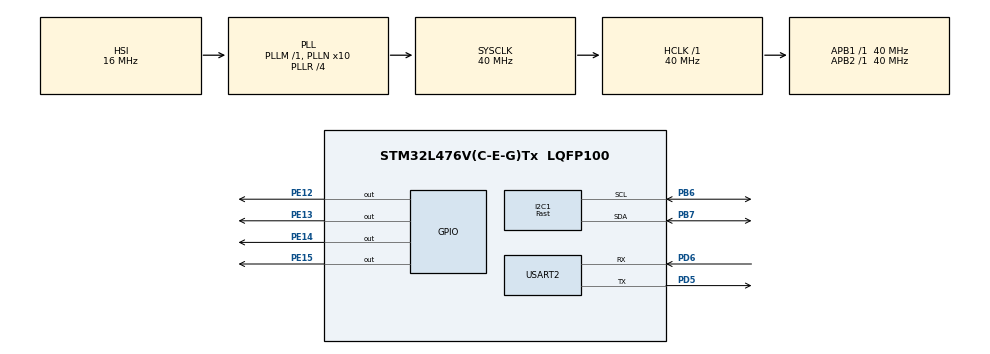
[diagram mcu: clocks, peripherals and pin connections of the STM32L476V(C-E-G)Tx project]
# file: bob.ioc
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I2C1.I2C_Speed_Mode=I2C_Fast
I2C1.Timing=0x00301347
Mcu.Family=STM32L4
Mcu.Name=STM32L476V(C-E-G)Tx
Mcu.Package=LQFP100
NVIC.I2C1_ER_IRQn=true\:0\:0\:false\:false\:true\:true
NVIC.I2C1_EV_IRQn=true\:0\:0\:false\:false\:true\:true
NVIC.PriorityGroup=NVIC_PRIORITYGROUP_4
NVIC.TIM2_IRQn=true\:0\:0\:false\:false\:true\:true
NVIC.TIM3_IRQn=true\:0\:0\:false\:false\:true\:true
PB6.Mode=I2C
PB6.Signal=I2C1_SCL
PB7.Mode=I2C
PB7.Signal=I2C1_SDA
PD5.Mode=Asynchronous
PD5.Signal=USART2_TX
PD6.Mode=Asynchronous
PD6.Signal=USART2_RX
PE12.Signal=GPIO_Output
PE13.Signal=GPIO_Output
PE14.Signal=GPIO_Output
PE15.Signal=GPIO_Output
ProjectManager.HeapSize=0x200
ProjectManager.StackSize=0x400
ProjectManager.TargetToolchain=MDK-ARM V5
RCC.ADCFreq_Value=64000000
RCC.AHBFreq_Value=40000000
RCC.APB1Freq_Value=40000000
RCC.APB1TimFreq_Value=40000000
RCC.APB2Freq_Value=40000000
RCC.APB2TimFreq_Value=40000000
RCC.CortexFreq_Value=40000000
RCC.HCLKFreq_Value=40000000
RCC.HSI_VALUE=16000000
RCC.LSE_VALUE=32768
RCC.MSI_VALUE=4000000
RCC.PLLN=10
RCC.PLLR=RCC_PLLR_DIV4
RCC.PLLSourceVirtual=RCC_PLLSOURCE_HSI
RCC.SYSCLKFreq_VALUE=40000000
RCC.SYSCLKSource=RCC_SYSCLKSOURCE_PLLCLK
RCC.USBFreq_Value=64000000
RCC.VCOOutputFreq_Value=160000000
TIM2.Period=999999
TIM2.Prescaler=2047
TIM3.Period=999
TIM3.Prescaler=79
USART2.VirtualMode-Asynchronous=VM_ASYNC
VP_TIM2_VS_ClockSourceINT.Mode=Internal
VP_TIM3_VS_ClockSourceINT.Mode=Internal
board=custom

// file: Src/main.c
/**
  ******************************************************************************
  * @file           : main.c
  * @brief          : Main program body
  ******************************************************************************
  ** This notice applies to any and all portions of this file
  * that are not between comment pairs USER CODE BEGIN and
  * USER CODE END. Other portions of this file, whether
  * inserted by the user or by software development tools
  * are owned by their respective copyright owners.
  *
  * COPYRIGHT(c) 2018 STMicroelectronics
  *
  * Redistribution and use in source and binary forms, with or without modification,
  * are permitted provided that the following conditions are met:
  *   1. Redistributions of source code must retain the above copyright notice,
  *      this list of conditions and the following disclaimer.
  *   2. Redistributions in binary form must reproduce the above copyright notice,
  *      this list of conditions and the following disclaimer in the documentation
  *      and/or other materials provided with the distribution.
  *   3. Neither the name of STMicroelectronics nor the names of its contributors
  *      may be used to endorse or promote products derived from this software
  *      without specific prior written permission.
  *
  * THIS SOFTWARE IS PROVIDED BY THE COPYRIGHT HOLDERS AND CONTRIBUTORS "AS IS"
  * AND ANY EXPRESS OR IMPLIED WARRANTIES, INCLUDING, BUT NOT LIMITED TO, THE
  * IMPLIED WARRANTIES OF MERCHANTABILITY AND FITNESS FOR A PARTICULAR PURPOSE ARE
  * DISCLAIMED. IN NO EVENT SHALL THE COPYRIGHT HOLDER OR CONTRIBUTORS BE LIABLE
  * FOR ANY DIRECT, INDIRECT, INCIDENTAL, SPECIAL, EXEMPLARY, OR CONSEQUENTIAL
  * DAMAGES (INCLUDING, BUT NOT LIMITED TO, PROCUREMENT OF SUBSTITUTE GOODS OR
  * SERVICES; LOSS OF USE, DATA, OR PROFITS; OR BUSINESS INTERRUPTION) HOWEVER
  * CAUSED AND ON ANY THEORY OF LIABILITY, WHETHER IN CONTRACT, STRICT LIABILITY,
  * OR TORT (INCLUDING NEGLIGENCE OR OTHERWISE) ARISING IN ANY WAY OUT OF THE USE
  * OF THIS SOFTWARE, EVEN IF ADVISED OF THE POSSIBILITY OF SUCH DAMAGE.
  *
  ******************************************************************************
  */
#include "main.h"
#include "stm32l4xx_hal.h"

/* USER CODE BEGIN Includes */
#include <math.h>
/* USER CODE END Includes */

I2C_HandleTypeDef hi2c1;

TIM_HandleTypeDef htim2;
TIM_HandleTypeDef htim3;

UART_HandleTypeDef huart2;

/* USER CODE BEGIN PV */
/* Private variables ---------------------------------------------------------*/
#define MPU6050_ADDR 0x69<<1
#define gyroSensitivity 250.0 //degrees per second
#define clkFreq 40000000 //Hz
#define timerFreq 1000.0 //Hz
#define timerDiv clkFreq/timerFreq
#define degPersecondPerUnit gyroSensitivity/32768.0
#define PI 3.14159265358979323846
#define convertGryoToMilliRad (degPersecondPerUnit*PI*1000)/(180*timerFreq)

uint8_t initializarionMSG[7] = "Hello\r\n";
const char charList[] = {'0','1','2','3','4','5','6','7','8','9','A','B','C','D','E','F'};
uint8_t newL[] = {' ', ' ', '\n', '\r'};

volatile int16_t accel_x, accel_y, accel_z;
volatile int16_t gyro_x, gyro_y, gyro_z;
uint8_t rawData[14];

double gyroAngle;
volatile double accelAngle, gyroRead, ierror = 0, derror = 0, olda = 0, angle = 0, speed = 0;

uint8_t txData[1] = {0x28}; //out_x_l for accel and gyro

/* USER CODE END PV */

void SystemClock_Config(void);
static void MX_GPIO_Init(void);
static void MX_I2C1_Init(void);
static void MX_TIM2_Init(void);
static void MX_TIM3_Init(void);
static void MX_USART2_UART_Init(void);

/* USER CODE BEGIN PFP */
/* Private function prototypes -----------------------------------------------*/

/* USER CODE END PFP */

/* USER CODE BEGIN 0 */

int deadzone = 0;
void setDirection(int dir){
	if(dir > deadzone){
		GPIOE->ODR |= (1U << 15 | 1U << 13); //set dir pin PE15 abd 13
	} else if(dir < -deadzone) {
		GPIOE->ODR &= ~(1U << 15 | 1U << 13); //clear dir pin E15 and 13
	}
}

#define minTick 40
void setSpeed(double hertz){
	if(hertz < 0){ hertz = -hertz;}
	if(hertz == 0){hertz += 1;}

	unsigned int ticks = (clkFreq/(10*hertz));
	if(ticks < minTick){ticks = minTick;} //prevent too fast
	//else if(ticks > 0xFFFF){ticks = 0xFFFE;} //prevent overflow of LOAD register
	TIM2->ARR = ticks;
	if(TIM2->CNT > TIM2->ARR){
		TIM2->EGR |= TIM_EGR_UG;
	} //force event
}

void step(void){
	GPIOE->ODR ^= ((1U << 12) | (1U << 14)); //toggle step pin PE12 and 14
}

void newline(){
	HAL_UART_Transmit(&huart2, newL, 4, 10); //init complete
}

void SerialHex(uint8_t *txBuffer, uint8_t size){
	uint8_t hex[size*4];
	for(int i = 0; i<size; i ++){
		hex[i*4] = ' ';
		hex[i*4+1] = 'x';
		uint8_t tens = txBuffer[i]/16;
		hex[i*4+2] = charList[tens%16];
		hex[i*4+3] = charList[txBuffer[i]%16];
	}
	HAL_UART_Transmit(&huart2, hex, size*4, size*4); //init complete
}

void SerialNum(int32_t in, char label ){
	uint8_t hex[14];
	hex[0] = label;
	hex[1] = ':';
	hex[2] = ' ';
	if(in < 0){
		in = -in; //negate
		hex[3] = '-'; //minus sign
	} else {
		hex[3] = ' ';
	}

	uint8_t charNum;
	for(int i = 9; i>3; i--){
		charNum = in % 10;
		hex[i] = charList[charNum];
		in /= 10;
	}
	hex[10] = ' ';
	hex[11] = ' ';

	HAL_UART_Transmit(&huart2, hex, 12, 12); //init complete
}

void initMPU(void){
	uint8_t data = 0; //write 0 to power management register to wake MPU6050
	HAL_I2C_Mem_Write(&hi2c1, MPU6050_ADDR, 0x6B, I2C_MEMADD_SIZE_8BIT, &data, 1, 10);
}

void initBot(){
	HAL_UART_Transmit(&huart2, initializarionMSG, 7, 10); //init complete
	initMPU(); //INITALIZE MPU6050
	HAL_TIM_Base_Start_IT(&htim2); //start timer 2
	HAL_TIM_Base_Start_IT(&htim3); //start timer 3
}

void processData(void){
	//translate data
	accel_x = (int16_t) (((uint16_t) (rawData[0]) <<8) + rawData[1]);
	//accel_y = (int16_t) (((uint16_t) (rawData[2]) <<8) + rawData[3]);
	accel_z = (int16_t) (((uint16_t) (rawData[4]) <<8) + rawData[5]);

	//gyro_x = (int16_t) (((uint16_t) (rawData[8]) <<8) + rawData[9])+210;
	gyro_y = (int16_t) (((uint16_t) (rawData[10]) <<8) + rawData[11]);
	//gyro_z = (int16_t) (((uint16_t) (rawData[12]) <<8) + rawData[13])+550;

	//read data from MPU6050 non blocking so that it is ready for next time
	HAL_I2C_Mem_Read_IT(&hi2c1, MPU6050_ADDR, 0x3B, I2C_MEMADD_SIZE_8BIT, rawData, 14);

	//data processing
	//accelAngle = 0.5*accelAngle + 0.5*(atan2(-accel_x, accel_z)*1000)+0; //tip forward is +
	accelAngle = 0.99*accelAngle + 0.01*((-(accel_x*1000)/17000)+20); //tip forward is +
	gyroRead = ((double)gyro_y*convertGryoToMilliRad); //scale to degrees
	gyroAngle +=  gyroRead;

	angle = (995*(angle+gyroRead) + 5*accelAngle)/1000;
	derror = .9*derror + 0.1*(olda-angle)*timerFreq; //derror = (new error - old error)/dt
	olda = angle;

	ierror += angle/timerFreq; //ierror += (new error - old error)*dt
	if(ierror > 1){ierror = 1;}
	else if(ierror < -1){ierror = -1;}

	speed = (angle*220)+(derror*2)+(ierror*6000); //220 2 6000
	setDirection(speed);
	//setSpeed(abs((int)angle)*35);
	//setSpeed((angle*240)+(derror*3)+(ierror*0)); //with just angle
	setSpeed(speed); //currently just p
}

void printStuff(void){
	//processData();
	//SerialNum(accel_x, 'x');
	////SerialNum(accel_y, 'y');
	//SerialNum(accel_z, 'z');

	////SerialNum(gyro_x, 'u');
	//SerialNum(gyro_y, 'g');
	////SerialNum(gyro_z, 'w');

	//SerialNum(gyroAngle, 'g');
	//SerialNum(accelAngle, 'c');
	//SerialNum(angle, 'a');

	SerialNum(angle*220, 'p');
	SerialNum(ierror*6000, 'i');
	SerialNum(derror*2, 'd');
	SerialNum(speed, 's');
	newline();
}

//timer events
void HAL_TIM_PeriodElapsedCallback(TIM_HandleTypeDef *htim){
	if(htim->Instance == TIM2){
		step();
	}
	if(htim->Instance == TIM3){
		processData();
	}
}
/* USER CODE END 0 */

int main(void)
{

  /* MCU Configuration----------------------------------------------------------*/

  /* Reset of all peripherals, Initializes the Flash interface and the Systick. */
  HAL_Init();

  /* Configure the system clock */
  SystemClock_Config();

  /* Initialize all configured peripherals */
  MX_GPIO_Init();
  MX_I2C1_Init();
  MX_TIM2_Init();
  MX_TIM3_Init();
  MX_USART2_UART_Init();
  /* USER CODE BEGIN 2 */

	initBot();

  /* USER CODE END 2 */

  /* Infinite loop */
  /* USER CODE BEGIN WHILE */
	//uint8_t whoami = 0;
	//int HALst = 0;
  while (1)
  {
  /* USER CODE END WHILE */

  /* USER CODE BEGIN 3 */
		printStuff();
  }
  /* USER CODE END 3 */

}

void SystemClock_Config(void)
{

  RCC_OscInitTypeDef RCC_OscInitStruct;
  RCC_ClkInitTypeDef RCC_ClkInitStruct;
  RCC_PeriphCLKInitTypeDef PeriphClkInit;

    /**Initializes the CPU, AHB and APB busses clocks
    */
  RCC_OscInitStruct.OscillatorType = RCC_OSCILLATORTYPE_HSI;
  RCC_OscInitStruct.HSIState = RCC_HSI_ON;
  RCC_OscInitStruct.HSICalibrationValue = 16;
  RCC_OscInitStruct.PLL.PLLState = RCC_PLL_ON;
  RCC_OscInitStruct.PLL.PLLSource = RCC_PLLSOURCE_HSI;
  RCC_OscInitStruct.PLL.PLLM = 1;
  RCC_OscInitStruct.PLL.PLLN = 10;
  RCC_OscInitStruct.PLL.PLLP = RCC_PLLP_DIV7;
  RCC_OscInitStruct.PLL.PLLQ = RCC_PLLQ_DIV2;
  RCC_OscInitStruct.PLL.PLLR = RCC_PLLR_DIV4;
  if (HAL_RCC_OscConfig(&RCC_OscInitStruct) != HAL_OK)
  {
    _Error_Handler(__FILE__, __LINE__);
  }

    /**Initializes the CPU, AHB and APB busses clocks
    */
  RCC_ClkInitStruct.ClockType = RCC_CLOCKTYPE_HCLK|RCC_CLOCKTYPE_SYSCLK
                              |RCC_CLOCKTYPE_PCLK1|RCC_CLOCKTYPE_PCLK2;
  RCC_ClkInitStruct.SYSCLKSource = RCC_SYSCLKSOURCE_PLLCLK;
  RCC_ClkInitStruct.AHBCLKDivider = RCC_SYSCLK_DIV1;
  RCC_ClkInitStruct.APB1CLKDivider = RCC_HCLK_DIV1;
  RCC_ClkInitStruct.APB2CLKDivider = RCC_HCLK_DIV1;

  if (HAL_RCC_ClockConfig(&RCC_ClkInitStruct, FLASH_LATENCY_2) != HAL_OK)
  {
    _Error_Handler(__FILE__, __LINE__);
  }

  PeriphClkInit.PeriphClockSelection = RCC_PERIPHCLK_USART2|RCC_PERIPHCLK_I2C1;
  PeriphClkInit.Usart2ClockSelection = RCC_USART2CLKSOURCE_PCLK1;
  PeriphClkInit.I2c1ClockSelection = RCC_I2C1CLKSOURCE_PCLK1;
  if (HAL_RCCEx_PeriphCLKConfig(&PeriphClkInit) != HAL_OK)
  {
    _Error_Handler(__FILE__, __LINE__);
  }

    /**Configure the main internal regulator output voltage
    */
  if (HAL_PWREx_ControlVoltageScaling(PWR_REGULATOR_VOLTAGE_SCALE1) != HAL_OK)
  {
    _Error_Handler(__FILE__, __LINE__);
  }

    /**Configure the Systick interrupt time
    */
  HAL_SYSTICK_Config(HAL_RCC_GetHCLKFreq()/1000);

    /**Configure the Systick
    */
  HAL_SYSTICK_CLKSourceConfig(SYSTICK_CLKSOURCE_HCLK);

  /* SysTick_IRQn interrupt configuration */
  HAL_NVIC_SetPriority(SysTick_IRQn, 0, 0);
}

/* I2C1 init function */
static void MX_I2C1_Init(void)
{

  hi2c1.Instance = I2C1;
  hi2c1.Init.Timing = 0x00301347;
  hi2c1.Init.OwnAddress1 = 0;
  hi2c1.Init.AddressingMode = I2C_ADDRESSINGMODE_7BIT;
  hi2c1.Init.DualAddressMode = I2C_DUALADDRESS_DISABLE;
  hi2c1.Init.OwnAddress2 = 0;
  hi2c1.Init.OwnAddress2Masks = I2C_OA2_NOMASK;
  hi2c1.Init.GeneralCallMode = I2C_GENERALCALL_DISABLE;
  hi2c1.Init.NoStretchMode = I2C_NOSTRETCH_DISABLE;
  if (HAL_I2C_Init(&hi2c1) != HAL_OK)
  {
    _Error_Handler(__FILE__, __LINE__);
  }

    /**Configure Analogue filter
    */
  if (HAL_I2CEx_ConfigAnalogFilter(&hi2c1, I2C_ANALOGFILTER_ENABLE) != HAL_OK)
  {
    _Error_Handler(__FILE__, __LINE__);
  }

    /**Configure Digital filter
    */
  if (HAL_I2CEx_ConfigDigitalFilter(&hi2c1, 0) != HAL_OK)
  {
    _Error_Handler(__FILE__, __LINE__);
  }

}

/* TIM2 init function */
static void MX_TIM2_Init(void)
{

  TIM_ClockConfigTypeDef sClockSourceConfig;
  TIM_MasterConfigTypeDef sMasterConfig;

  htim2.Instance = TIM2;
  htim2.Init.Prescaler = 9;
  htim2.Init.CounterMode = TIM_COUNTERMODE_UP;
  htim2.Init.Period = 999999;
  htim2.Init.ClockDivision = TIM_CLOCKDIVISION_DIV1;
  htim2.Init.AutoReloadPreload = TIM_AUTORELOAD_PRELOAD_DISABLE;
  if (HAL_TIM_Base_Init(&htim2) != HAL_OK)
  {
    _Error_Handler(__FILE__, __LINE__);
  }

  sClockSourceConfig.ClockSource = TIM_CLOCKSOURCE_INTERNAL;
  if (HAL_TIM_ConfigClockSource(&htim2, &sClockSourceConfig) != HAL_OK)
  {
    _Error_Handler(__FILE__, __LINE__);
  }

  sMasterConfig.MasterOutputTrigger = TIM_TRGO_RESET;
  sMasterConfig.MasterSlaveMode = TIM_MASTERSLAVEMODE_DISABLE;
  if (HAL_TIMEx_MasterConfigSynchronization(&htim2, &sMasterConfig) != HAL_OK)
  {
    _Error_Handler(__FILE__, __LINE__);
  }

}

/* TIM3 init function */
static void MX_TIM3_Init(void)
{

  TIM_ClockConfigTypeDef sClockSourceConfig;
  TIM_MasterConfigTypeDef sMasterConfig;

  htim3.Instance = TIM3;
  htim3.Init.Prescaler = 39;
  htim3.Init.CounterMode = TIM_COUNTERMODE_UP;
  htim3.Init.Period = 999;
  htim3.Init.ClockDivision = TIM_CLOCKDIVISION_DIV1;
  htim3.Init.AutoReloadPreload = TIM_AUTORELOAD_PRELOAD_DISABLE;
  if (HAL_TIM_Base_Init(&htim3) != HAL_OK)
  {
    _Error_Handler(__FILE__, __LINE__);
  }

  sClockSourceConfig.ClockSource = TIM_CLOCKSOURCE_INTERNAL;
  if (HAL_TIM_ConfigClockSource(&htim3, &sClockSourceConfig) != HAL_OK)
  {
    _Error_Handler(__FILE__, __LINE__);
  }

  sMasterConfig.MasterOutputTrigger = TIM_TRGO_RESET;
  sMasterConfig.MasterSlaveMode = TIM_MASTERSLAVEMODE_DISABLE;
  if (HAL_TIMEx_MasterConfigSynchronization(&htim3, &sMasterConfig) != HAL_OK)
  {
    _Error_Handler(__FILE__, __LINE__);
  }

}

/* USART2 init function */
static void MX_USART2_UART_Init(void)
{

  huart2.Instance = USART2;
  huart2.Init.BaudRate = 115200;
  huart2.Init.WordLength = UART_WORDLENGTH_8B;
  huart2.Init.StopBits = UART_STOPBITS_1;
  huart2.Init.Parity = UART_PARITY_NONE;
  huart2.Init.Mode = UART_MODE_TX_RX;
  huart2.Init.HwFlowCtl = UART_HWCONTROL_NONE;
  huart2.Init.OverSampling = UART_OVERSAMPLING_16;
  huart2.Init.OneBitSampling = UART_ONE_BIT_SAMPLE_DISABLE;
  huart2.AdvancedInit.AdvFeatureInit = UART_ADVFEATURE_NO_INIT;
  if (HAL_UART_Init(&huart2) != HAL_OK)
  {
    _Error_Handler(__FILE__, __LINE__);
  }

}

/** Configure pins as
        * Analog
        * Input
        * Output
        * EVENT_OUT
        * EXTI
*/
static void MX_GPIO_Init(void)
{

  GPIO_InitTypeDef GPIO_InitStruct;

  /* GPIO Ports Clock Enable */
  __HAL_RCC_GPIOE_CLK_ENABLE();
  __HAL_RCC_GPIOD_CLK_ENABLE();
  __HAL_RCC_GPIOB_CLK_ENABLE();

  /*Configure GPIO pin Output Level */
  HAL_GPIO_WritePin(GPIOE, GPIO_PIN_12|GPIO_PIN_13|GPIO_PIN_14|GPIO_PIN_15, GPIO_PIN_RESET);

  /*Configure GPIO pins : PE12 PE13 PE14 PE15 */
  GPIO_InitStruct.Pin = GPIO_PIN_12|GPIO_PIN_13|GPIO_PIN_14|GPIO_PIN_15;
  GPIO_InitStruct.Mode = GPIO_MODE_OUTPUT_PP;
  GPIO_InitStruct.Pull = GPIO_NOPULL;
  GPIO_InitStruct.Speed = GPIO_SPEED_FREQ_LOW;
  HAL_GPIO_Init(GPIOE, &GPIO_InitStruct);

}

void _Error_Handler(char *file, int line)
{
  while(1)
  {
  }
}

/************************ (C) COPYRIGHT STMicroelectronics *****END OF FILE****/
